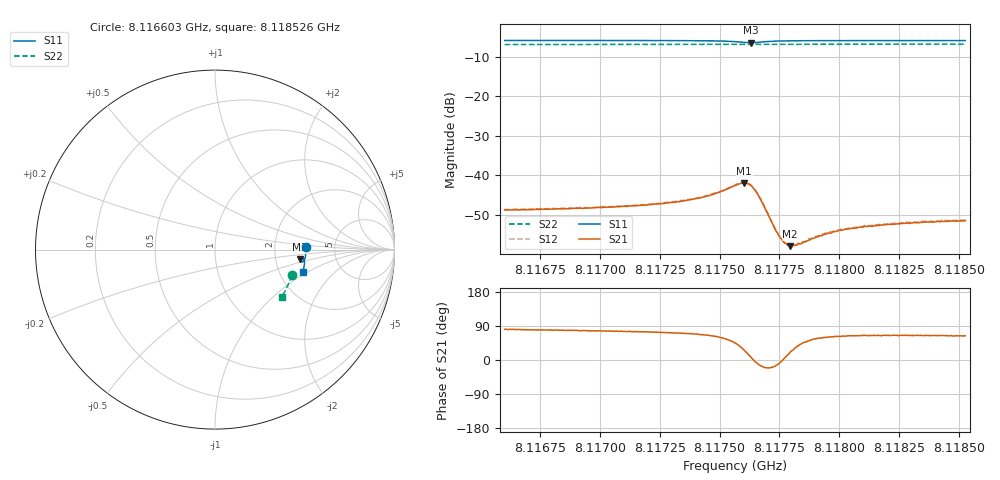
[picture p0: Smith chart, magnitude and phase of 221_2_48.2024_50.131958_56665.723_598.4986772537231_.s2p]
#  HZ  S  RI  R  50.00
! Rohde & Schwarz Vector Network Analyzer
! Rohde-Schwarz,ZNB20-2Port,1311601062101988,3.16
! Created: UTC 3/20/2024, 11:45:57 AM
! freq[Hz]  re:S11  im:S11  re:S21  im:S21  re:S12  im:S12  re:S22  im:S22
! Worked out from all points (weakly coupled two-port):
!   401 points, 8.116603 GHz to 8.118526 GHz, reference 50 ohm
!   highest |S21| = -41.94 dB at 8.117603 GHz (marker M1); lowest = -57.9 dB at 8.117795 GHz (marker M2)
!   lowest |S11| = -6.5 dB at 8.117632 GHz (marker M3), VSWR 2.81, Z = 137 - j19.4 ohm
!   |S11| at or under -10 dB: nowhere
!   |S22| runs from -6.9 to -6.8 dB; largest |S21 - S12| = 0.00022
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8.1166028e9  0.5065 0.0134  0.000568 0.0036  0.000615 0.00366  0.4267 -0.1427
8.116925e9  0.5062 -0.0116  0.000822 0.00374  0.000894 0.00381  0.4198 -0.164
8.1172472e9  0.5037 -0.0375  0.00126 0.00416  0.00134 0.00422  0.412 -0.1852
8.1173386e9  0.5023 -0.0457  0.00156 0.00442  0.00164 0.00454  0.4096 -0.191
8.1174299e9  0.4997 -0.0548  0.00209 0.00487  0.00217 0.00493  0.4071 -0.1972
8.1174925e9  0.4957 -0.0617  0.00292 0.00526  0.00308 0.00535  0.405 -0.2011
8.1175646e9  0.4846 -0.0686  0.00524 0.00526  0.00543 0.00531  0.4026 -0.2056
8.1176031e9  0.4743 -0.065  0.00719 0.0035  0.00737 0.00352  0.401 -0.2076
8.1176319e9  0.4715 -0.0549  0.00735 0.000852  0.00747 0.000809  0.4002 -0.2089
8.1176463e9  0.4741 -0.0502  0.00656 -0.000325  0.00672 -0.000373  0.3999 -0.2095
8.1176656e9  0.4797 -0.0465  0.00517 -0.0012  0.00528 -0.00126  0.3996 -0.2106
8.1177281e9  0.4936 -0.0515  0.00209 -0.000664  0.00216 -0.000679  0.3985 -0.2147
8.1177473e9  0.4954 -0.0542  0.00171 -0.000289  0.00174 -0.000301  0.398 -0.2162
8.1177714e9  0.4969 -0.0577  0.00138 0.000115  0.00142 0.000133  0.3972 -0.2177
8.1177954e9  0.4979 -0.0606  0.00119 0.00046  0.00124 0.00042  0.3965 -0.2191
8.1178291e9  0.4985 -0.0649  0.00109 0.000819  0.0011 0.000872  0.3956 -0.2215
8.1178868e9  0.4988 -0.071  0.00094 0.00128  0.000954 0.0013  0.3935 -0.2252
8.1179301e9  0.4986 -0.0751  0.000899 0.00149  0.000978 0.00154  0.3923 -0.2279
8.1180022e9  0.498 -0.0818  0.000955 0.0018  0.000947 0.00181  0.3899 -0.2323
8.118108e9  0.4968 -0.0907  0.000955 0.00207  0.001 0.0021  0.3861 -0.2389
8.118209e9  0.4953 -0.0987  0.00101 0.00217  0.00108 0.0022  0.3829 -0.245
8.1185264e9  0.4898 -0.1227  0.00118 0.0024  0.00119 0.00242  0.3711 -0.2641
